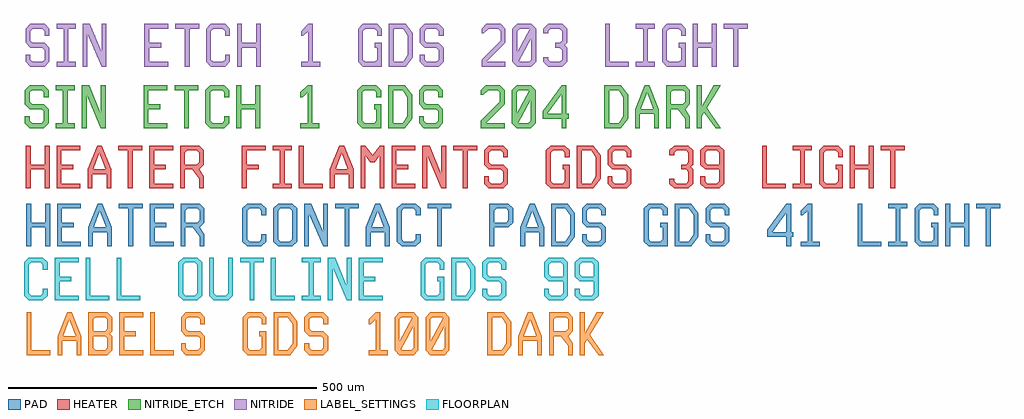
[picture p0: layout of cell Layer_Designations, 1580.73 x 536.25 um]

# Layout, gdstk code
import gdstk
lib = gdstk.Library(unit=1e-6, precision=1e-09)
def R(c, l, rs):  # rectangles x0, y0, x1, y1
    for r in rs: c.add(gdstk.rectangle(r[:2], r[2:], *l))
def P(c, l, *ps):  # polygons
    for p in ps: c.add(gdstk.Polygon(p, *l))
HEATER = (39, 0)
PAD = (41, 0)
FLOORPLAN = (99, 0)
LABEL_SETTINGS = (100, 0)
NITRIDE = (203, 0)
NITRIDE_ETCH = (204, 0)

layer_designations = lib.new_cell('Layer_Designations')
R(layer_designations, HEATER, [(129.749,186.264,137.441,255.494), (-662.559,209.341,-624.097,217.033), (-270.251,209.341,-231.789,217.033)])
P(layer_designations, HEATER, [(637.441,186.264),(637.441,247.802),(622.057,247.802),(622.057,255.494),(660.518,255.494),(660.518,247.802),(645.134,247.802),(645.134,186.264)],
  [(572.057,186.264),(572.057,255.494),(579.749,255.494),(579.749,224.725),(602.826,224.725),(602.826,255.494),(610.518,255.494),(610.518,186.264),(602.826,186.264),(602.826,217.033),(579.749,217.033),(579.749,186.264)],
  [(529.749,186.264),(522.057,193.956),(522.057,247.802),(529.749,255.494),(552.826,255.494),(560.518,247.802),(560.518,236.264),(552.826,236.264),(552.826,243.956),(548.98,247.802),(533.595,247.802),(529.749,243.956),(529.749,197.802),(533.595,193.956),(548.98,193.956),(552.826,197.802),(552.826,217.033),(548.98,217.033),(548.98,224.725),(560.518,224.725),(560.518,186.264)],
  [(479.749,186.264),(479.749,193.956),(491.288,193.956),(491.288,247.802),(479.749,247.802),(479.749,255.494),(510.518,255.494),(510.518,247.802),(498.98,247.802),(498.98,193.956),(510.518,193.956),(510.518,186.264)],
  [(429.749,186.264),(429.749,255.494),(437.441,255.494),(437.441,193.956),(468.211,193.956),(468.211,186.264)],
  [(337.441,186.264),(329.749,193.956),(329.749,205.494),(337.441,205.494),(337.441,197.802),(341.288,193.956),(356.672,193.956),(360.518,197.802),(360.518,217.033),(337.441,217.033),(329.749,224.725),(329.749,247.802),(337.441,255.494),(341.288,255.494),(341.288,247.802),(337.441,243.956),(337.441,228.571),(341.288,224.725),(360.518,224.725),(360.518,243.956),(356.672,247.802),(341.288,247.802),(341.288,255.494),(360.518,255.494),(368.211,247.802),(368.211,193.956),(360.518,186.264)],
  [(287.441,186.264),(279.749,193.956),(279.749,201.648),(287.441,201.648),(287.441,197.802),(291.288,193.956),(306.672,193.956),(310.518,197.802),(310.518,213.187),(306.672,217.033),(298.98,217.033),(298.98,224.725),(306.672,224.725),(310.518,228.571),(310.518,243.956),(306.672,247.802),(291.288,247.802),(287.441,243.956),(287.441,240.11),(279.749,240.11),(279.749,247.802),(287.441,255.494),(310.518,255.494),(318.211,247.802),(318.211,224.725),(314.365,220.879),(318.211,217.033),(318.211,193.956),(310.518,186.264)],
  [(187.441,186.264),(179.749,193.956),(179.749,205.494),(187.441,205.494),(187.441,197.802),(191.288,193.956),(206.672,193.956),(210.518,197.802),(210.518,213.187),(206.672,217.033),(187.441,217.033),(179.749,224.725),(179.749,247.802),(187.441,255.494),(210.518,255.494),(218.211,247.802),(218.211,236.264),(210.518,236.264),(210.518,243.956),(206.672,247.802),(191.288,247.802),(187.441,243.956),(187.441,228.571),(191.288,224.725),(210.518,224.725),(218.211,217.033),(218.211,193.956),(210.518,186.264)],
  [(129.749,186.264),(129.749,193.956),(152.826,193.956),(160.518,205.494),(160.518,236.264),(152.826,247.802),(129.749,247.802),(129.749,255.494),(156.672,255.494),(168.211,240.11),(168.211,201.648),(156.672,186.264)],
  [(87.441,186.264),(79.749,193.956),(79.749,247.802),(87.441,255.494),(110.518,255.494),(118.211,247.802),(118.211,236.264),(110.518,236.264),(110.518,243.956),(106.672,247.802),(91.288,247.802),(87.441,243.956),(87.441,197.802),(91.288,193.956),(106.672,193.956),(110.518,197.802),(110.518,217.033),(106.672,217.033),(106.672,224.725),(118.211,224.725),(118.211,186.264)],
  [(-12.559,186.264),(-20.251,193.956),(-20.251,205.494),(-12.559,205.494),(-12.559,197.802),(-8.712,193.956),(6.672,193.956),(10.518,197.802),(10.518,213.187),(6.672,217.033),(-12.559,217.033),(-20.251,224.725),(-20.251,247.802),(-12.559,255.494),(10.518,255.494),(18.211,247.802),(18.211,236.264),(10.518,236.264),(10.518,243.956),(6.672,247.802),(-8.712,247.802),(-12.559,243.956),(-12.559,228.571),(-8.712,224.725),(10.518,224.725),(18.211,217.033),(18.211,193.956),(10.518,186.264)],
  [(-54.866,186.264),(-54.866,247.802),(-70.251,247.802),(-70.251,255.494),(-31.789,255.494),(-31.789,247.802),(-47.174,247.802),(-47.174,186.264)],
  [(-120.251,186.264),(-120.251,255.494),(-108.712,255.494),(-89.482,209.341),(-89.482,255.494),(-81.789,255.494),(-81.789,186.264),(-89.482,186.264),(-112.559,240.11),(-112.559,186.264)],
  [(-170.251,186.264),(-170.251,255.494),(-131.789,255.494),(-131.789,247.802),(-162.559,247.802),(-162.559,224.725),(-143.328,224.725),(-143.328,217.033),(-162.559,217.033),(-162.559,193.956),(-131.789,193.956),(-131.789,186.264)],
  [(-220.251,186.264),(-220.251,255.494),(-212.559,255.494),(-201.02,240.11),(-189.482,255.494),(-181.789,255.494),(-181.789,186.264),(-189.482,186.264),(-189.482,240.11),(-197.174,228.571),(-204.866,228.571),(-212.559,240.11),(-212.559,186.264)],
  [(-270.251,186.264),(-270.251,217.033),(-254.866,255.494),(-247.174,255.494),(-231.789,217.033),(-231.789,186.264),(-239.482,186.264),(-239.482,213.187),(-251.02,243.956),(-262.559,213.187),(-262.559,186.264)],
  [(-320.251,186.264),(-320.251,255.494),(-312.559,255.494),(-312.559,193.956),(-281.789,193.956),(-281.789,186.264)],
  [(-362.559,186.264),(-362.559,193.956),(-351.02,193.956),(-351.02,247.802),(-362.559,247.802),(-362.559,255.494),(-331.789,255.494),(-331.789,247.802),(-343.328,247.802),(-343.328,193.956),(-331.789,193.956),(-331.789,186.264)],
  [(-412.559,186.264),(-412.559,255.494),(-374.097,255.494),(-374.097,247.802),(-404.866,247.802),(-404.866,224.725),(-385.635,224.725),(-385.635,217.033),(-404.866,217.033),(-404.866,186.264)],
  [(-481.789,186.264),(-481.789,201.648),(-493.328,217.033),(-481.789,217.033),(-474.097,205.494),(-474.097,186.264)],
  [(-512.559,186.264),(-512.559,255.494),(-501.02,255.494),(-501.02,247.802),(-504.866,243.956),(-504.866,224.725),(-485.635,224.725),(-481.789,228.571),(-481.789,243.956),(-485.635,247.802),(-501.02,247.802),(-501.02,255.494),(-481.789,255.494),(-474.097,247.802),(-474.097,224.725),(-481.789,217.033),(-504.866,217.033),(-504.866,186.264)],
  [(-562.559,186.264),(-562.559,255.494),(-524.097,255.494),(-524.097,247.802),(-554.866,247.802),(-554.866,224.725),(-535.635,224.725),(-535.635,217.033),(-554.866,217.033),(-554.866,193.956),(-524.097,193.956),(-524.097,186.264)],
  [(-597.174,186.264),(-597.174,247.802),(-612.559,247.802),(-612.559,255.494),(-574.097,255.494),(-574.097,247.802),(-589.482,247.802),(-589.482,186.264)],
  [(-662.559,186.264),(-662.559,217.033),(-647.174,255.494),(-639.482,255.494),(-624.097,217.033),(-624.097,186.264),(-631.789,186.264),(-631.789,213.187),(-643.328,243.956),(-654.866,213.187),(-654.866,186.264)],
  [(-712.559,186.264),(-712.559,255.494),(-674.097,255.494),(-674.097,247.802),(-704.866,247.802),(-704.866,224.725),(-685.635,224.725),(-685.635,217.033),(-704.866,217.033),(-704.866,193.956),(-674.097,193.956),(-674.097,186.264)],
  [(-762.559,186.264),(-762.559,255.494),(-754.866,255.494),(-754.866,224.725),(-731.789,224.725),(-731.789,255.494),(-724.097,255.494),(-724.097,186.264),(-731.789,186.264),(-731.789,217.033),(-754.866,217.033),(-754.866,186.264)])
R(layer_designations, PAD, [(88.224,92.294,95.917,161.524), (288.224,92.294,295.917,161.524), (468.994,92.294,476.686,161.524), (-661.776,115.371,-623.314,123.063), (-211.776,115.371,-173.314,123.063), (38.224,115.371,76.686,123.063)])
P(layer_designations, PAD, [(792.071,92.294),(792.071,153.832),(776.686,153.832),(776.686,161.524),(815.147,161.524),(815.147,153.832),(799.763,153.832),(799.763,92.294)],
  [(726.686,92.294),(726.686,161.524),(734.378,161.524),(734.378,130.755),(757.455,130.755),(757.455,161.524),(765.147,161.524),(765.147,92.294),(757.455,92.294),(757.455,123.063),(734.378,123.063),(734.378,92.294)],
  [(684.378,92.294),(676.686,99.986),(676.686,153.832),(684.378,161.524),(707.455,161.524),(715.147,153.832),(715.147,142.294),(707.455,142.294),(707.455,149.986),(703.609,153.832),(688.224,153.832),(684.378,149.986),(684.378,103.832),(688.224,99.986),(703.609,99.986),(707.455,103.832),(707.455,123.063),(703.609,123.063),(703.609,130.755),(715.147,130.755),(715.147,92.294)],
  [(634.378,92.294),(634.378,99.986),(645.917,99.986),(645.917,153.832),(634.378,153.832),(634.378,161.524),(665.147,161.524),(665.147,153.832),(653.609,153.832),(653.609,99.986),(665.147,99.986),(665.147,92.294)],
  [(584.378,92.294),(584.378,161.524),(592.071,161.524),(592.071,99.986),(622.84,99.986),(622.84,92.294)],
  [(492.071,92.294),(492.071,99.986),(503.609,99.986),(503.609,149.986),(495.917,142.294),(492.071,142.294),(492.071,149.986),(503.609,161.524),(511.301,161.524),(511.301,99.986),(522.84,99.986),(522.84,92.294)],
  [(438.224,107.678),(438.224,119.217),(468.994,161.524),(476.686,161.524),(476.686,157.678),(445.917,115.371),(480.532,115.371),(480.532,107.678)],
  [(345.917,92.294),(338.224,99.986),(338.224,111.524),(345.917,111.524),(345.917,103.832),(349.763,99.986),(365.147,99.986),(368.994,103.832),(368.994,119.217),(365.147,123.063),(345.917,123.063),(338.224,130.755),(338.224,153.832),(345.917,161.524),(368.994,161.524),(376.686,153.832),(376.686,142.294),(368.994,142.294),(368.994,149.986),(365.147,153.832),(349.763,153.832),(345.917,149.986),(345.917,134.601),(349.763,130.755),(368.994,130.755),(376.686,123.063),(376.686,99.986),(368.994,92.294)],
  [(288.224,92.294),(288.224,99.986),(311.301,99.986),(318.994,111.524),(318.994,142.294),(311.301,153.832),(288.224,153.832),(288.224,161.524),(315.147,161.524),(326.686,146.14),(326.686,107.678),(315.147,92.294)],
  [(245.917,92.294),(238.224,99.986),(238.224,153.832),(245.917,161.524),(268.994,161.524),(276.686,153.832),(276.686,142.294),(268.994,142.294),(268.994,149.986),(265.147,153.832),(249.763,153.832),(245.917,149.986),(245.917,103.832),(249.763,99.986),(265.147,99.986),(268.994,103.832),(268.994,123.063),(265.147,123.063),(265.147,130.755),(276.686,130.755),(276.686,92.294)],
  [(145.917,92.294),(138.224,99.986),(138.224,111.524),(145.917,111.524),(145.917,103.832),(149.763,99.986),(165.147,99.986),(168.994,103.832),(168.994,119.217),(165.147,123.063),(145.917,123.063),(138.224,130.755),(138.224,153.832),(145.917,161.524),(168.994,161.524),(176.686,153.832),(176.686,142.294),(168.994,142.294),(168.994,149.986),(165.147,153.832),(149.763,153.832),(145.917,149.986),(145.917,134.601),(149.763,130.755),(168.994,130.755),(176.686,123.063),(176.686,99.986),(168.994,92.294)],
  [(88.224,92.294),(88.224,99.986),(111.301,99.986),(118.994,111.524),(118.994,142.294),(111.301,153.832),(88.224,153.832),(88.224,161.524),(115.147,161.524),(126.686,146.14),(126.686,107.678),(115.147,92.294)],
  [(38.224,92.294),(38.224,123.063),(53.609,161.524),(61.301,161.524),(76.686,123.063),(76.686,92.294),(68.994,92.294),(68.994,119.217),(57.455,149.986),(45.917,119.217),(45.917,92.294)],
  [(-11.776,92.294),(-11.776,161.524),(-0.237,161.524),(-0.237,153.832),(-4.083,149.986),(-4.083,130.755),(15.147,130.755),(18.994,134.601),(18.994,149.986),(15.147,153.832),(-0.237,153.832),(-0.237,161.524),(18.994,161.524),(26.686,153.832),(26.686,130.755),(18.994,123.063),(-4.083,123.063),(-4.083,92.294)],
  [(-96.391,92.294),(-96.391,153.832),(-111.776,153.832),(-111.776,161.524),(-73.314,161.524),(-73.314,153.832),(-88.699,153.832),(-88.699,92.294)],
  [(-154.083,92.294),(-161.776,99.986),(-161.776,153.832),(-154.083,161.524),(-131.006,161.524),(-123.314,153.832),(-123.314,142.294),(-131.006,142.294),(-131.006,149.986),(-134.853,153.832),(-150.237,153.832),(-154.083,149.986),(-154.083,103.832),(-150.237,99.986),(-134.853,99.986),(-131.006,103.832),(-131.006,111.524),(-123.314,111.524),(-123.314,99.986),(-131.006,92.294)],
  [(-211.776,92.294),(-211.776,123.063),(-196.391,161.524),(-188.699,161.524),(-173.314,123.063),(-173.314,92.294),(-181.006,92.294),(-181.006,119.217),(-192.545,149.986),(-204.083,119.217),(-204.083,92.294)],
  [(-246.391,92.294),(-246.391,153.832),(-261.776,153.832),(-261.776,161.524),(-223.314,161.524),(-223.314,153.832),(-238.699,153.832),(-238.699,92.294)],
  [(-311.776,92.294),(-311.776,161.524),(-300.237,161.524),(-281.006,115.371),(-281.006,161.524),(-273.314,161.524),(-273.314,92.294),(-281.006,92.294),(-304.083,146.14),(-304.083,92.294)],
  [(-354.083,92.294),(-361.776,99.986),(-361.776,153.832),(-354.083,161.524),(-350.237,161.524),(-350.237,153.832),(-354.083,149.986),(-354.083,103.832),(-350.237,99.986),(-334.853,99.986),(-331.006,103.832),(-331.006,149.986),(-334.853,153.832),(-350.237,153.832),(-350.237,161.524),(-331.006,161.524),(-323.314,153.832),(-323.314,99.986),(-331.006,92.294)],
  [(-404.083,92.294),(-411.776,99.986),(-411.776,153.832),(-404.083,161.524),(-381.006,161.524),(-373.314,153.832),(-373.314,142.294),(-381.006,142.294),(-381.006,149.986),(-384.853,153.832),(-400.237,153.832),(-404.083,149.986),(-404.083,103.832),(-400.237,99.986),(-384.853,99.986),(-381.006,103.832),(-381.006,111.524),(-373.314,111.524),(-373.314,99.986),(-381.006,92.294)],
  [(-481.006,92.294),(-481.006,107.678),(-492.545,123.063),(-481.006,123.063),(-473.314,111.524),(-473.314,92.294)],
  [(-511.776,92.294),(-511.776,161.524),(-500.237,161.524),(-500.237,153.832),(-504.083,149.986),(-504.083,130.755),(-484.853,130.755),(-481.006,134.601),(-481.006,149.986),(-484.853,153.832),(-500.237,153.832),(-500.237,161.524),(-481.006,161.524),(-473.314,153.832),(-473.314,130.755),(-481.006,123.063),(-504.083,123.063),(-504.083,92.294)],
  [(-561.776,92.294),(-561.776,161.524),(-523.314,161.524),(-523.314,153.832),(-554.083,153.832),(-554.083,130.755),(-534.853,130.755),(-534.853,123.063),(-554.083,123.063),(-554.083,99.986),(-523.314,99.986),(-523.314,92.294)],
  [(-596.391,92.294),(-596.391,153.832),(-611.776,153.832),(-611.776,161.524),(-573.314,161.524),(-573.314,153.832),(-588.699,153.832),(-588.699,92.294)],
  [(-661.776,92.294),(-661.776,123.063),(-646.391,161.524),(-638.699,161.524),(-623.314,123.063),(-623.314,92.294),(-631.006,92.294),(-631.006,119.217),(-642.545,149.986),(-654.083,119.217),(-654.083,92.294)],
  [(-711.776,92.294),(-711.776,161.524),(-673.314,161.524),(-673.314,153.832),(-704.083,153.832),(-704.083,130.755),(-684.853,130.755),(-684.853,123.063),(-704.083,123.063),(-704.083,99.986),(-673.314,99.986),(-673.314,92.294)],
  [(-761.776,92.294),(-761.776,161.524),(-754.083,161.524),(-754.083,130.755),(-731.006,130.755),(-731.006,161.524),(-723.314,161.524),(-723.314,92.294),(-731.006,92.294),(-731.006,123.063),(-754.083,123.063),(-754.083,92.294)])
R(layer_designations, FLOORPLAN, [(-73.279,4.715,-65.587,73.945)])
P(layer_designations, FLOORPLAN, [(-757.894,4.715),(-765.587,12.407),(-765.587,66.253),(-757.894,73.945),(-734.817,73.945),(-727.125,66.253),(-727.125,54.715),(-734.817,54.715),(-734.817,62.407),(-738.664,66.253),(-754.048,66.253),(-757.894,62.407),(-757.894,16.253),(-754.048,12.407),(-738.664,12.407),(-734.817,16.253),(-734.817,23.945),(-727.125,23.945),(-727.125,12.407),(-734.817,4.715)],
  [(-715.587,4.715),(-715.587,73.945),(-677.125,73.945),(-677.125,66.253),(-707.894,66.253),(-707.894,43.176),(-688.664,43.176),(-688.664,35.484),(-707.894,35.484),(-707.894,12.407),(-677.125,12.407),(-677.125,4.715)],
  [(-665.587,4.715),(-665.587,73.945),(-657.894,73.945),(-657.894,12.407),(-627.125,12.407),(-627.125,4.715)],
  [(-615.587,4.715),(-615.587,73.945),(-607.894,73.945),(-607.894,12.407),(-577.125,12.407),(-577.125,4.715)],
  [(-507.894,4.715),(-515.587,12.407),(-515.587,66.253),(-507.894,73.945),(-504.048,73.945),(-504.048,66.253),(-507.894,62.407),(-507.894,16.253),(-504.048,12.407),(-488.664,12.407),(-484.817,16.253),(-484.817,62.407),(-488.664,66.253),(-504.048,66.253),(-504.048,73.945),(-484.817,73.945),(-477.125,66.253),(-477.125,12.407),(-484.817,4.715)],
  [(-457.894,4.715),(-465.587,12.407),(-465.587,73.945),(-457.894,73.945),(-457.894,16.253),(-454.048,12.407),(-438.664,12.407),(-434.817,16.253),(-434.817,73.945),(-427.125,73.945),(-427.125,12.407),(-434.817,4.715)],
  [(-400.202,4.715),(-400.202,66.253),(-415.587,66.253),(-415.587,73.945),(-377.125,73.945),(-377.125,66.253),(-392.51,66.253),(-392.51,4.715)],
  [(-365.587,4.715),(-365.587,73.945),(-357.894,73.945),(-357.894,12.407),(-327.125,12.407),(-327.125,4.715)],
  [(-315.587,4.715),(-315.587,12.407),(-304.048,12.407),(-304.048,66.253),(-315.587,66.253),(-315.587,73.945),(-284.817,73.945),(-284.817,66.253),(-296.356,66.253),(-296.356,12.407),(-284.817,12.407),(-284.817,4.715)],
  [(-273.279,4.715),(-273.279,73.945),(-261.741,73.945),(-242.51,27.792),(-242.51,73.945),(-234.817,73.945),(-234.817,4.715),(-242.51,4.715),(-265.587,58.561),(-265.587,4.715)],
  [(-223.279,4.715),(-223.279,73.945),(-184.817,73.945),(-184.817,66.253),(-215.587,66.253),(-215.587,43.176),(-196.356,43.176),(-196.356,35.484),(-215.587,35.484),(-215.587,12.407),(-184.817,12.407),(-184.817,4.715)],
  [(-115.587,4.715),(-123.279,12.407),(-123.279,66.253),(-115.587,73.945),(-92.51,73.945),(-84.817,66.253),(-84.817,54.715),(-92.51,54.715),(-92.51,62.407),(-96.356,66.253),(-111.741,66.253),(-115.587,62.407),(-115.587,16.253),(-111.741,12.407),(-96.356,12.407),(-92.51,16.253),(-92.51,35.484),(-96.356,35.484),(-96.356,43.176),(-84.817,43.176),(-84.817,4.715)],
  [(-73.279,4.715),(-73.279,12.407),(-50.202,12.407),(-42.51,23.945),(-42.51,54.715),(-50.202,66.253),(-73.279,66.253),(-73.279,73.945),(-46.356,73.945),(-34.817,58.561),(-34.817,20.099),(-46.356,4.715)],
  [(-15.587,4.715),(-23.279,12.407),(-23.279,23.945),(-15.587,23.945),(-15.587,16.253),(-11.741,12.407),(3.644,12.407),(7.49,16.253),(7.49,31.638),(3.644,35.484),(-15.587,35.484),(-23.279,43.176),(-23.279,66.253),(-15.587,73.945),(7.49,73.945),(15.183,66.253),(15.183,54.715),(7.49,54.715),(7.49,62.407),(3.644,66.253),(-11.741,66.253),(-15.587,62.407),(-15.587,47.022),(-11.741,43.176),(7.49,43.176),(15.183,35.484),(15.183,12.407),(7.49,4.715)],
  [(84.413,4.715),(76.721,12.407),(76.721,23.945),(84.413,23.945),(84.413,16.253),(88.259,12.407),(103.644,12.407),(107.49,16.253),(107.49,35.484),(84.413,35.484),(76.721,43.176),(76.721,66.253),(84.413,73.945),(88.259,73.945),(88.259,66.253),(84.413,62.407),(84.413,47.022),(88.259,43.176),(107.49,43.176),(107.49,62.407),(103.644,66.253),(88.259,66.253),(88.259,73.945),(107.49,73.945),(115.183,66.253),(115.183,12.407),(107.49,4.715)],
  [(134.413,4.715),(126.721,12.407),(126.721,23.945),(134.413,23.945),(134.413,16.253),(138.259,12.407),(153.644,12.407),(157.49,16.253),(157.49,35.484),(134.413,35.484),(126.721,43.176),(126.721,66.253),(134.413,73.945),(138.259,73.945),(138.259,66.253),(134.413,62.407),(134.413,47.022),(138.259,43.176),(157.49,43.176),(157.49,62.407),(153.644,66.253),(138.259,66.253),(138.259,73.945),(157.49,73.945),(165.183,66.253),(165.183,12.407),(157.49,4.715)])
R(layer_designations, LABEL_SETTINGS, [(-361.295,-83.729,-353.602,-14.499), (-15.141,-83.729,-7.449,-14.499), (134.859,-83.729,142.551,-14.499), (-711.295,-60.652,-672.833,-52.96), (34.859,-60.652,73.321,-52.96)])
P(layer_designations, LABEL_SETTINGS, [(165.628,-83.729),(142.551,-52.96),(150.244,-49.114),(173.321,-83.729)],
  [(134.859,-83.729),(134.859,-14.499),(142.551,-14.499),(142.551,-49.114),(161.782,-14.499),(173.321,-14.499),(142.551,-64.499),(142.551,-83.729)],
  [(115.628,-83.729),(115.628,-68.345),(104.09,-52.96),(115.628,-52.96),(123.321,-64.499),(123.321,-83.729)],
  [(84.859,-83.729),(84.859,-14.499),(96.398,-14.499),(96.398,-22.191),(92.551,-26.037),(92.551,-45.268),(111.782,-45.268),(115.628,-41.422),(115.628,-26.037),(111.782,-22.191),(96.398,-22.191),(96.398,-14.499),(115.628,-14.499),(123.321,-22.191),(123.321,-45.268),(115.628,-52.96),(92.551,-52.96),(92.551,-83.729)],
  [(34.859,-83.729),(34.859,-52.96),(50.244,-14.499),(57.936,-14.499),(73.321,-52.96),(73.321,-83.729),(65.628,-83.729),(65.628,-56.806),(54.09,-26.037),(42.551,-56.806),(42.551,-83.729)],
  [(-15.141,-83.729),(-15.141,-76.037),(7.936,-76.037),(15.628,-64.499),(15.628,-33.729),(7.936,-22.191),(-15.141,-22.191),(-15.141,-14.499),(11.782,-14.499),(23.321,-29.883),(23.321,-68.345),(11.782,-83.729)],
  [(-107.449,-79.883),(-115.141,-76.037),(-84.372,-18.345),(-76.679,-22.191)],
  [(-107.449,-83.729),(-115.141,-76.037),(-115.141,-22.191),(-107.449,-14.499),(-103.602,-14.499),(-103.602,-22.191),(-107.449,-26.037),(-107.449,-72.191),(-103.602,-76.037),(-88.218,-76.037),(-84.372,-72.191),(-84.372,-26.037),(-88.218,-22.191),(-103.602,-22.191),(-103.602,-14.499),(-84.372,-14.499),(-76.679,-22.191),(-76.679,-76.037),(-84.372,-83.729)],
  [(-157.449,-79.883),(-165.141,-76.037),(-134.372,-18.345),(-126.679,-22.191)],
  [(-157.449,-83.729),(-165.141,-76.037),(-165.141,-22.191),(-157.449,-14.499),(-153.602,-14.499),(-153.602,-22.191),(-157.449,-26.037),(-157.449,-72.191),(-153.602,-76.037),(-138.218,-76.037),(-134.372,-72.191),(-134.372,-26.037),(-138.218,-22.191),(-153.602,-22.191),(-153.602,-14.499),(-134.372,-14.499),(-126.679,-22.191),(-126.679,-76.037),(-134.372,-83.729)],
  [(-207.449,-83.729),(-207.449,-76.037),(-195.91,-76.037),(-195.91,-26.037),(-203.602,-33.729),(-207.449,-33.729),(-207.449,-26.037),(-195.91,-14.499),(-188.218,-14.499),(-188.218,-76.037),(-176.679,-76.037),(-176.679,-83.729)],
  [(-303.602,-83.729),(-311.295,-76.037),(-311.295,-64.499),(-303.602,-64.499),(-303.602,-72.191),(-299.756,-76.037),(-284.372,-76.037),(-280.526,-72.191),(-280.526,-56.806),(-284.372,-52.96),(-303.602,-52.96),(-311.295,-45.268),(-311.295,-22.191),(-303.602,-14.499),(-280.526,-14.499),(-272.833,-22.191),(-272.833,-33.729),(-280.526,-33.729),(-280.526,-26.037),(-284.372,-22.191),(-299.756,-22.191),(-303.602,-26.037),(-303.602,-41.422),(-299.756,-45.268),(-280.526,-45.268),(-272.833,-52.96),(-272.833,-76.037),(-280.526,-83.729)],
  [(-361.295,-83.729),(-361.295,-76.037),(-338.218,-76.037),(-330.526,-64.499),(-330.526,-33.729),(-338.218,-22.191),(-361.295,-22.191),(-361.295,-14.499),(-334.372,-14.499),(-322.833,-29.883),(-322.833,-68.345),(-334.372,-83.729)],
  [(-403.602,-83.729),(-411.295,-76.037),(-411.295,-22.191),(-403.602,-14.499),(-380.526,-14.499),(-372.833,-22.191),(-372.833,-33.729),(-380.526,-33.729),(-380.526,-26.037),(-384.372,-22.191),(-399.756,-22.191),(-403.602,-26.037),(-403.602,-72.191),(-399.756,-76.037),(-384.372,-76.037),(-380.526,-72.191),(-380.526,-52.96),(-384.372,-52.96),(-384.372,-45.268),(-372.833,-45.268),(-372.833,-83.729)],
  [(-503.602,-83.729),(-511.295,-76.037),(-511.295,-64.499),(-503.602,-64.499),(-503.602,-72.191),(-499.756,-76.037),(-484.372,-76.037),(-480.526,-72.191),(-480.526,-56.806),(-484.372,-52.96),(-503.602,-52.96),(-511.295,-45.268),(-511.295,-22.191),(-503.602,-14.499),(-480.526,-14.499),(-472.833,-22.191),(-472.833,-33.729),(-480.526,-33.729),(-480.526,-26.037),(-484.372,-22.191),(-499.756,-22.191),(-503.602,-26.037),(-503.602,-41.422),(-499.756,-45.268),(-480.526,-45.268),(-472.833,-52.96),(-472.833,-76.037),(-480.526,-83.729)],
  [(-561.295,-83.729),(-561.295,-14.499),(-553.602,-14.499),(-553.602,-76.037),(-522.833,-76.037),(-522.833,-83.729)],
  [(-611.295,-83.729),(-611.295,-14.499),(-572.833,-14.499),(-572.833,-22.191),(-603.602,-22.191),(-603.602,-45.268),(-584.372,-45.268),(-584.372,-52.96),(-603.602,-52.96),(-603.602,-76.037),(-572.833,-76.037),(-572.833,-83.729)],
  [(-661.295,-83.729),(-661.295,-14.499),(-649.756,-14.499),(-649.756,-22.191),(-653.602,-26.037),(-653.602,-72.191),(-649.756,-76.037),(-634.372,-76.037),(-630.526,-72.191),(-630.526,-56.806),(-634.372,-52.96),(-653.602,-52.96),(-653.602,-45.268),(-634.372,-45.268),(-630.526,-41.422),(-630.526,-26.037),(-634.372,-22.191),(-649.756,-22.191),(-649.756,-14.499),(-630.526,-14.499),(-622.833,-22.191),(-622.833,-45.268),(-626.679,-49.114),(-622.833,-52.96),(-622.833,-76.037),(-630.526,-83.729)],
  [(-711.295,-83.729),(-711.295,-52.96),(-695.91,-14.499),(-688.218,-14.499),(-672.833,-52.96),(-672.833,-83.729),(-680.526,-83.729),(-680.526,-56.806),(-692.064,-26.037),(-703.602,-56.806),(-703.602,-83.729)],
  [(-761.295,-83.729),(-761.295,-14.499),(-753.602,-14.499),(-753.602,-76.037),(-722.833,-76.037),(-722.833,-83.729)])
R(layer_designations, NITRIDE, [(-174.449,383.293,-166.757,452.523)])
P(layer_designations, NITRIDE, [(383.243,383.293),(383.243,444.831),(367.859,444.831),(367.859,452.523),(406.32,452.523),(406.32,444.831),(390.936,444.831),(390.936,383.293)],
  [(317.859,383.293),(317.859,452.523),(325.551,452.523),(325.551,421.754),(348.628,421.754),(348.628,452.523),(356.32,452.523),(356.32,383.293),(348.628,383.293),(348.628,414.062),(325.551,414.062),(325.551,383.293)],
  [(275.551,383.293),(267.859,390.985),(267.859,444.831),(275.551,452.523),(298.628,452.523),(306.32,444.831),(306.32,433.293),(298.628,433.293),(298.628,440.985),(294.782,444.831),(279.397,444.831),(275.551,440.985),(275.551,394.831),(279.397,390.985),(294.782,390.985),(298.628,394.831),(298.628,414.062),(294.782,414.062),(294.782,421.754),(306.32,421.754),(306.32,383.293)],
  [(225.551,383.293),(225.551,390.985),(237.09,390.985),(237.09,444.831),(225.551,444.831),(225.551,452.523),(256.32,452.523),(256.32,444.831),(244.782,444.831),(244.782,390.985),(256.32,390.985),(256.32,383.293)],
  [(175.551,383.293),(175.551,452.523),(183.243,452.523),(183.243,390.985),(214.013,390.985),(214.013,383.293)],
  [(83.243,383.293),(75.551,390.985),(75.551,398.677),(83.243,398.677),(83.243,394.831),(87.09,390.985),(102.474,390.985),(106.32,394.831),(106.32,410.216),(102.474,414.062),(94.782,414.062),(94.782,421.754),(102.474,421.754),(106.32,425.6),(106.32,440.985),(102.474,444.831),(87.09,444.831),(83.243,440.985),(83.243,437.139),(75.551,437.139),(75.551,444.831),(83.243,452.523),(106.32,452.523),(114.013,444.831),(114.013,421.754),(110.166,417.908),(114.013,414.062),(114.013,390.985),(106.32,383.293)],
  [(33.243,387.139),(25.551,390.985),(56.32,448.677),(64.013,444.831)],
  [(33.243,383.293),(25.551,390.985),(25.551,444.831),(33.243,452.523),(37.09,452.523),(37.09,444.831),(33.243,440.985),(33.243,394.831),(37.09,390.985),(52.474,390.985),(56.32,394.831),(56.32,440.985),(52.474,444.831),(37.09,444.831),(37.09,452.523),(56.32,452.523),(64.013,444.831),(64.013,390.985),(56.32,383.293)],
  [(-24.449,383.293),(-24.449,394.831),(6.32,425.6),(6.32,440.985),(2.474,444.831),(-12.91,444.831),(-20.603,437.139),(-24.449,437.139),(-24.449,444.831),(-16.757,452.523),(6.32,452.523),(14.013,444.831),(14.013,421.754),(-16.757,390.985),(14.013,390.985),(14.013,383.293)],
  [(-116.757,383.293),(-124.449,390.985),(-124.449,402.523),(-116.757,402.523),(-116.757,394.831),(-112.91,390.985),(-97.526,390.985),(-93.68,394.831),(-93.68,410.216),(-97.526,414.062),(-116.757,414.062),(-124.449,421.754),(-124.449,444.831),(-116.757,452.523),(-93.68,452.523),(-85.987,444.831),(-85.987,433.293),(-93.68,433.293),(-93.68,440.985),(-97.526,444.831),(-112.91,444.831),(-116.757,440.985),(-116.757,425.6),(-112.91,421.754),(-93.68,421.754),(-85.987,414.062),(-85.987,390.985),(-93.68,383.293)],
  [(-174.449,383.293),(-174.449,390.985),(-151.372,390.985),(-143.68,402.523),(-143.68,433.293),(-151.372,444.831),(-174.449,444.831),(-174.449,452.523),(-147.526,452.523),(-135.987,437.139),(-135.987,398.677),(-147.526,383.293)],
  [(-216.757,383.293),(-224.449,390.985),(-224.449,444.831),(-216.757,452.523),(-193.68,452.523),(-185.987,444.831),(-185.987,433.293),(-193.68,433.293),(-193.68,440.985),(-197.526,444.831),(-212.91,444.831),(-216.757,440.985),(-216.757,394.831),(-212.91,390.985),(-197.526,390.985),(-193.68,394.831),(-193.68,414.062),(-197.526,414.062),(-197.526,421.754),(-185.987,421.754),(-185.987,383.293)],
  [(-316.757,383.293),(-316.757,390.985),(-305.218,390.985),(-305.218,440.985),(-312.91,433.293),(-316.757,433.293),(-316.757,440.985),(-305.218,452.523),(-297.526,452.523),(-297.526,390.985),(-285.987,390.985),(-285.987,383.293)],
  [(-420.603,383.293),(-420.603,452.523),(-412.91,452.523),(-412.91,421.754),(-389.834,421.754),(-389.834,452.523),(-382.141,452.523),(-382.141,383.293),(-389.834,383.293),(-389.834,414.062),(-412.91,414.062),(-412.91,383.293)],
  [(-462.91,383.293),(-470.603,390.985),(-470.603,444.831),(-462.91,452.523),(-439.834,452.523),(-432.141,444.831),(-432.141,433.293),(-439.834,433.293),(-439.834,440.985),(-443.68,444.831),(-459.064,444.831),(-462.91,440.985),(-462.91,394.831),(-459.064,390.985),(-443.68,390.985),(-439.834,394.831),(-439.834,402.523),(-432.141,402.523),(-432.141,390.985),(-439.834,383.293)],
  [(-505.218,383.293),(-505.218,444.831),(-520.603,444.831),(-520.603,452.523),(-482.141,452.523),(-482.141,444.831),(-497.526,444.831),(-497.526,383.293)],
  [(-570.603,383.293),(-570.603,452.523),(-532.141,452.523),(-532.141,444.831),(-562.91,444.831),(-562.91,421.754),(-543.68,421.754),(-543.68,414.062),(-562.91,414.062),(-562.91,390.985),(-532.141,390.985),(-532.141,383.293)],
  [(-670.603,383.293),(-670.603,452.523),(-659.064,452.523),(-639.834,406.37),(-639.834,452.523),(-632.141,452.523),(-632.141,383.293),(-639.834,383.293),(-662.91,437.139),(-662.91,383.293)],
  [(-712.91,383.293),(-712.91,390.985),(-701.372,390.985),(-701.372,444.831),(-712.91,444.831),(-712.91,452.523),(-682.141,452.523),(-682.141,444.831),(-693.68,444.831),(-693.68,390.985),(-682.141,390.985),(-682.141,383.293)],
  [(-755.218,383.293),(-762.91,390.985),(-762.91,402.523),(-755.218,402.523),(-755.218,394.831),(-751.372,390.985),(-735.987,390.985),(-732.141,394.831),(-732.141,410.216),(-735.987,414.062),(-755.218,414.062),(-762.91,421.754),(-762.91,444.831),(-755.218,452.523),(-732.141,452.523),(-724.449,444.831),(-724.449,433.293),(-732.141,433.293),(-732.141,440.985),(-735.987,444.831),(-751.372,444.831),(-755.218,440.985),(-755.218,425.6),(-751.372,421.754),(-732.141,421.754),(-724.449,414.062),(-724.449,390.985),(-732.141,383.293)])
R(layer_designations, NITRIDE_ETCH, [(-175.61,283.974,-167.918,353.204), (105.159,283.974,112.851,353.204), (174.39,283.974,182.082,353.204), (324.39,283.974,332.082,353.204), (224.39,307.051,262.851,314.743)])
P(layer_designations, NITRIDE_ETCH, [(-756.379,283.974),(-764.072,291.666),(-764.072,303.204),(-756.379,303.204),(-756.379,295.512),(-752.533,291.666),(-737.149,291.666),(-733.302,295.512),(-733.302,310.897),(-737.149,314.743),(-756.379,314.743),(-764.072,322.435),(-764.072,345.512),(-756.379,353.204),(-733.302,353.204),(-725.61,345.512),(-725.61,333.974),(-733.302,333.974),(-733.302,341.666),(-737.149,345.512),(-752.533,345.512),(-756.379,341.666),(-756.379,326.281),(-752.533,322.435),(-733.302,322.435),(-725.61,314.743),(-725.61,291.666),(-733.302,283.974)],
  [(-714.072,283.974),(-714.072,291.666),(-702.533,291.666),(-702.533,345.512),(-714.072,345.512),(-714.072,353.204),(-683.302,353.204),(-683.302,345.512),(-694.841,345.512),(-694.841,291.666),(-683.302,291.666),(-683.302,283.974)],
  [(-671.764,283.974),(-671.764,353.204),(-660.225,353.204),(-640.995,307.051),(-640.995,353.204),(-633.302,353.204),(-633.302,283.974),(-640.995,283.974),(-664.072,337.82),(-664.072,283.974)],
  [(-571.764,283.974),(-571.764,353.204),(-533.302,353.204),(-533.302,345.512),(-564.072,345.512),(-564.072,322.435),(-544.841,322.435),(-544.841,314.743),(-564.072,314.743),(-564.072,291.666),(-533.302,291.666),(-533.302,283.974)],
  [(-506.379,283.974),(-506.379,345.512),(-521.764,345.512),(-521.764,353.204),(-483.302,353.204),(-483.302,345.512),(-498.687,345.512),(-498.687,283.974)],
  [(-464.072,283.974),(-471.764,291.666),(-471.764,345.512),(-464.072,353.204),(-440.995,353.204),(-433.302,345.512),(-433.302,333.974),(-440.995,333.974),(-440.995,341.666),(-444.841,345.512),(-460.225,345.512),(-464.072,341.666),(-464.072,295.512),(-460.225,291.666),(-444.841,291.666),(-440.995,295.512),(-440.995,303.204),(-433.302,303.204),(-433.302,291.666),(-440.995,283.974)],
  [(-421.764,283.974),(-421.764,353.204),(-414.072,353.204),(-414.072,322.435),(-390.995,322.435),(-390.995,353.204),(-383.302,353.204),(-383.302,283.974),(-390.995,283.974),(-390.995,314.743),(-414.072,314.743),(-414.072,283.974)],
  [(-317.918,283.974),(-317.918,291.666),(-306.379,291.666),(-306.379,341.666),(-314.072,333.974),(-317.918,333.974),(-317.918,341.666),(-306.379,353.204),(-298.687,353.204),(-298.687,291.666),(-287.149,291.666),(-287.149,283.974)],
  [(-217.918,283.974),(-225.61,291.666),(-225.61,345.512),(-217.918,353.204),(-194.841,353.204),(-187.149,345.512),(-187.149,333.974),(-194.841,333.974),(-194.841,341.666),(-198.687,345.512),(-214.072,345.512),(-217.918,341.666),(-217.918,295.512),(-214.072,291.666),(-198.687,291.666),(-194.841,295.512),(-194.841,314.743),(-198.687,314.743),(-198.687,322.435),(-187.149,322.435),(-187.149,283.974)],
  [(-175.61,283.974),(-175.61,291.666),(-152.533,291.666),(-144.841,303.204),(-144.841,333.974),(-152.533,345.512),(-175.61,345.512),(-175.61,353.204),(-148.687,353.204),(-137.149,337.82),(-137.149,299.358),(-148.687,283.974)],
  [(-117.918,283.974),(-125.61,291.666),(-125.61,303.204),(-117.918,303.204),(-117.918,295.512),(-114.072,291.666),(-98.687,291.666),(-94.841,295.512),(-94.841,310.897),(-98.687,314.743),(-117.918,314.743),(-125.61,322.435),(-125.61,345.512),(-117.918,353.204),(-94.841,353.204),(-87.149,345.512),(-87.149,333.974),(-94.841,333.974),(-94.841,341.666),(-98.687,345.512),(-114.072,345.512),(-117.918,341.666),(-117.918,326.281),(-114.072,322.435),(-94.841,322.435),(-87.149,314.743),(-87.149,291.666),(-94.841,283.974)],
  [(-25.61,283.974),(-25.61,295.512),(5.159,326.281),(5.159,341.666),(1.313,345.512),(-14.072,345.512),(-21.764,337.82),(-25.61,337.82),(-25.61,345.512),(-17.918,353.204),(5.159,353.204),(12.851,345.512),(12.851,322.435),(-17.918,291.666),(12.851,291.666),(12.851,283.974)],
  [(32.082,283.974),(24.39,291.666),(24.39,345.512),(32.082,353.204),(35.928,353.204),(35.928,345.512),(32.082,341.666),(32.082,295.512),(35.928,291.666),(51.313,291.666),(55.159,295.512),(55.159,341.666),(51.313,345.512),(35.928,345.512),(35.928,353.204),(55.159,353.204),(62.851,345.512),(62.851,291.666),(55.159,283.974)],
  [(32.082,287.82),(24.39,291.666),(55.159,349.358),(62.851,345.512)],
  [(74.39,299.358),(74.39,310.897),(105.159,353.204),(112.851,353.204),(112.851,349.358),(82.082,307.051),(116.698,307.051),(116.698,299.358)],
  [(174.39,283.974),(174.39,291.666),(197.467,291.666),(205.159,303.204),(205.159,333.974),(197.467,345.512),(174.39,345.512),(174.39,353.204),(201.313,353.204),(212.851,337.82),(212.851,299.358),(201.313,283.974)],
  [(224.39,283.974),(224.39,314.743),(239.775,353.204),(247.467,353.204),(262.851,314.743),(262.851,283.974),(255.159,283.974),(255.159,310.897),(243.621,341.666),(232.082,310.897),(232.082,283.974)],
  [(274.39,283.974),(274.39,353.204),(285.928,353.204),(285.928,345.512),(282.082,341.666),(282.082,322.435),(301.313,322.435),(305.159,326.281),(305.159,341.666),(301.313,345.512),(285.928,345.512),(285.928,353.204),(305.159,353.204),(312.851,345.512),(312.851,322.435),(305.159,314.743),(282.082,314.743),(282.082,283.974)],
  [(305.159,283.974),(305.159,299.358),(293.621,314.743),(305.159,314.743),(312.851,303.204),(312.851,283.974)],
  [(324.39,283.974),(324.39,353.204),(332.082,353.204),(332.082,318.589),(351.313,353.204),(362.851,353.204),(332.082,303.204),(332.082,283.974)],
  [(355.159,283.974),(332.082,314.743),(339.775,318.589),(362.851,283.974)])

lib.write_gds('Layer_Designations.gds')
